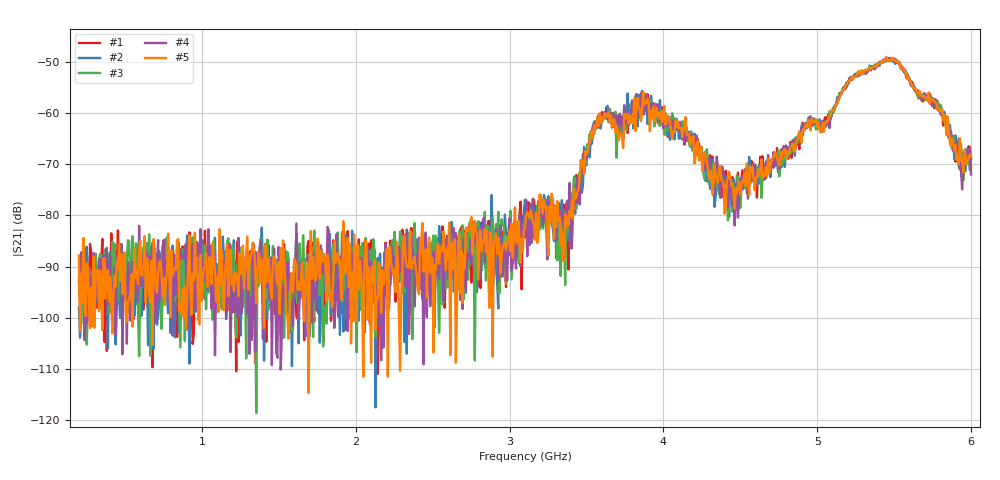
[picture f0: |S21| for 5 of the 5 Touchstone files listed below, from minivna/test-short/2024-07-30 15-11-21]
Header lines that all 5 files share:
! NanoVNA-App by OneOfEleven et al v1.1.209 (+OD15)
! Start: 200MHz Stop: 6GHz Points: 801
! S-Parameter data: F S11 S21 S12 S22
# Hz S RI R 50
!  Frequency  S11_Real  S11_Imag  S21_Real  S21_Imag  S12_Real  S12_Imag  S22_Real  S22_Imag
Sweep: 200 MHz to 6 GHz
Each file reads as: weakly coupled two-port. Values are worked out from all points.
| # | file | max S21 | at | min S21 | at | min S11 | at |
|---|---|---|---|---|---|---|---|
| 1 | 0.s2p | -49.32 dB | 5.478 GHz | -110.9 dB | 2.143 GHz | -3.5 dB | 2.882 GHz |
| 2 | 2.s2p | -49.37 dB | 5.471 GHz | -117.5 dB | 2.128 GHz | -3.5 dB | 2.89 GHz |
| 3 | 5.s2p | -49.35 dB | 5.456 GHz | -118.6 dB | 1.353 GHz | -3.5 dB | 2.89 GHz |
| 4 | 9.s2p | -49.15 dB | 5.449 GHz | -110.1 dB | 1.512 GHz | -3.5 dB | 2.875 GHz |
| 5 | 10.s2p | -49.14 dB | 5.449 GHz | -114.6 dB | 1.694 GHz | -3.5 dB | 2.882 GHz |
